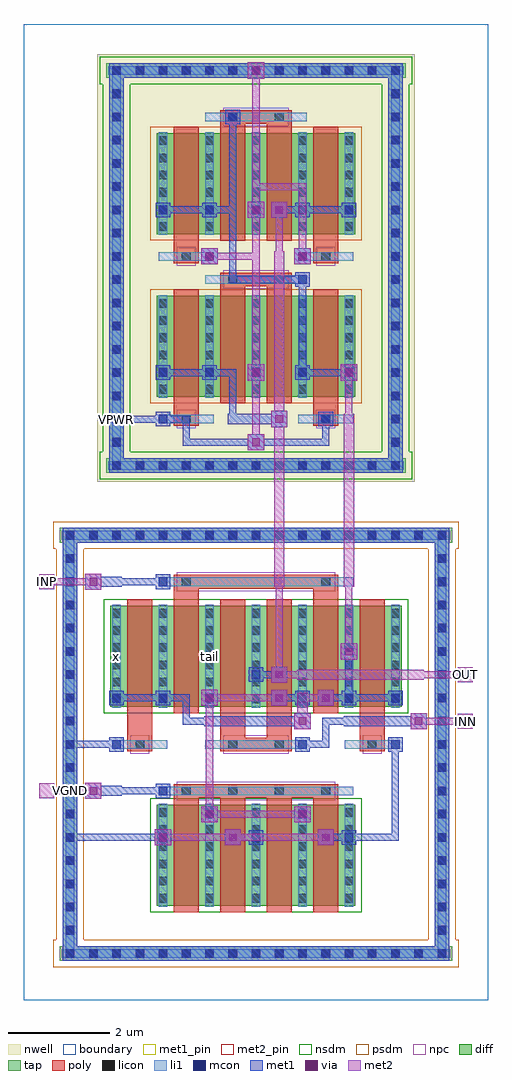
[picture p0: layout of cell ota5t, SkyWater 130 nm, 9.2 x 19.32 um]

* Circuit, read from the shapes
.subckt ota5t INN INP OUT VBN VGND VPWR tail x
XM1 x VGND x VGND sky130_fd_pr__nfet_01v8 w=2 l=0.5 m=2
XM2 tail VBN VGND VGND sky130_fd_pr__nfet_01v8 w=2 l=0.5 m=4
XM3 tail INP x VGND sky130_fd_pr__nfet_01v8 w=2 l=0.5 m=2
XM4 OUT INN tail VGND sky130_fd_pr__nfet_01v8 w=2 l=0.5 m=2
XM5 OUT VPWR OUT VPWR sky130_fd_pr__pfet_01v8 w=2 l=0.5 m=2
XM6 x VPWR x VPWR sky130_fd_pr__pfet_01v8 w=2 l=0.5 m=2
XM7 VPWR x OUT VPWR sky130_fd_pr__pfet_01v8 w=2 l=0.5 m=2
XM8 VPWR x x VPWR sky130_fd_pr__pfet_01v8 w=2 l=0.5 m=2
.ends

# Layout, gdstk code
import gdstk
lib = gdstk.Library(unit=1e-6, precision=1e-09)
def R(c, l, rs):  # rectangles x0, y0, x1, y1
    for r in rs: c.add(gdstk.rectangle(r[:2], r[2:], *l))
def A(c, l, x, y, w, h, nx, ny, dx, dy):  # array of equal rectangles
    R(c, l, [(x+i*dx, y+j*dy, x+i*dx+w, y+j*dy+h) for i in range(nx) for j in range(ny)])
nwell = (64, 20)
diff = (65, 20)
tap = (65, 44)
poly = (66, 20)
licon = (66, 44)
li1 = (67, 20)
mcon = (67, 44)
met1_pin = (68, 16)
met1 = (68, 20)
via = (68, 44)
met2_pin = (69, 16)
met2 = (69, 20)
nsdm = (93, 44)
psdm = (94, 20)
npc = (95, 20)
boundary = (235, 4)

ota5t = lib.new_cell('ota5t')
R(ota5t, nwell, [(1.455,10.255,7.745,18.725)])
R(ota5t, diff, [(2.635,1.865,6.565,3.865), (1.715,5.805,7.485,7.805), (2.635,11.94,6.565,13.94), (2.635,15.16,6.565,17.16)])
R(ota5t, tap, [(0.715,0.775,8.485,1.065), (0.775,0.775,1.065,9.345), (8.135,0.775,8.425,9.345), (0.715,9.055,8.485,9.345), (1.635,10.435,7.565,10.725), (1.695,10.435,1.985,18.545), (7.215,10.435,7.505,18.545), (1.635,18.255,7.565,18.545)])
A(ota5t, poly, 2.97, 1.735, 0.5, 2.405, 4, 1, 0.92, 0)
R(ota5t, poly, [(2.97,4.005,6.23,4.275), (2.05,4.925,2.55,5.195), (3.89,4.925,5.31,5.195), (6.65,4.925,7.15,5.195), (2.05,5.06,2.55,7.935), (3.89,5.06,4.39,7.935), (4.81,5.06,5.31,7.935), (6.65,5.06,7.15,7.935), (2.97,5.675,3.47,8.28), (5.73,5.675,6.23,8.28), (2.97,8.145,6.23,8.415), (2.97,11.365,3.47,11.635), (5.73,11.365,6.23,11.635), (2.97,11.5,3.47,14.07), (5.73,11.5,6.23,14.07), (3.89,11.81,4.39,14.26), (4.81,11.81,5.31,14.26), (3.89,14.125,5.31,14.395), (2.97,14.585,3.47,14.855), (5.73,14.585,6.23,14.855), (2.97,14.72,3.47,17.29), (5.73,14.72,6.23,17.29), (3.89,15.03,4.39,17.48), (4.81,15.03,5.31,17.48), (3.89,17.345,5.31,17.615)])
A(ota5t, licon, 0.835, 0.835, 0.17, 0.17, 17, 2, 0.46, 8.28)
A(ota5t, licon, 0.835, 1.295, 0.17, 0.17, 1, 17, 0, 0.46)
A(ota5t, licon, 8.195, 1.295, 0.17, 0.17, 1, 17, 0, 0.46)
A(ota5t, licon, 2.675, 1.93, 0.17, 0.17, 5, 6, 0.92, 0.34)
A(ota5t, licon, 3.135, 4.055, 0.17, 0.17, 4, 1, 0.92, 0)
A(ota5t, licon, 1.755, 5.87, 0.17, 0.17, 7, 6, 0.92, 0.34)
A(ota5t, licon, 3.135, 8.195, 0.17, 0.17, 1, 3, 0, 3.22)
A(ota5t, licon, 5.895, 8.195, 0.17, 0.17, 1, 3, 0, 3.22)
A(ota5t, licon, 1.755, 10.495, 0.17, 0.17, 13, 2, 0.46, 7.82)
A(ota5t, licon, 1.755, 10.955, 0.17, 0.17, 1, 16, 0, 0.46)
A(ota5t, licon, 7.275, 10.955, 0.17, 0.17, 1, 16, 0, 0.46)
A(ota5t, licon, 2.675, 12.005, 0.17, 0.17, 5, 6, 0.92, 0.34)
A(ota5t, licon, 2.675, 15.225, 0.17, 0.17, 5, 6, 0.92, 0.34)
R(ota5t, licon, [(2.215,4.975,2.385,5.145), (4.055,4.975,4.225,5.145), (4.975,4.975,5.145,5.145), (6.815,4.975,6.985,5.145), (4.055,14.175,4.225,14.345), (4.975,14.175,5.145,14.345), (4.055,17.395,4.225,17.565), (4.975,17.395,5.145,17.565)])
A(ota5t, li1, 2.675, 1.85, 0.17, 2.03, 5, 2, 0.92, 10.075)
A(ota5t, li1, 1.755, 5.79, 0.17, 2.03, 7, 1, 0.92, 0)
A(ota5t, li1, 2.675, 15.145, 0.17, 2.03, 5, 1, 0.92, 0)
R(ota5t, li1, [(0.755,0.835,8.445,1.005), (0.835,0.835,1.005,9.285), (8.195,0.835,8.365,9.285), (2.675,4.055,6.525,4.225), (1.755,4.975,2.845,5.145), (3.595,4.975,5.605,5.145), (6.355,4.975,7.445,5.145), (2.675,8.195,6.525,8.365), (0.755,9.115,8.445,9.285), (1.675,10.495,7.525,10.665), (1.755,10.495,1.925,18.485), (7.275,10.495,7.445,18.485), (2.675,11.415,3.765,11.585), (5.435,11.415,6.525,11.585), (3.595,14.175,5.605,14.345), (2.675,14.635,3.765,14.805), (5.435,14.635,6.525,14.805), (3.595,17.395,5.605,17.565), (1.675,18.315,7.525,18.485)])
A(ota5t, mcon, 0.835, 0.835, 0.17, 0.17, 17, 2, 0.46, 8.28)
A(ota5t, mcon, 0.835, 1.295, 0.17, 0.17, 1, 4, 0, 0.46)
A(ota5t, mcon, 8.195, 1.295, 0.17, 0.17, 1, 4, 0, 0.46)
A(ota5t, mcon, 0.835, 3.135, 0.17, 0.17, 5, 1, 1.84, 0)
A(ota5t, mcon, 0.835, 3.595, 0.17, 0.17, 1, 5, 0, 0.46)
A(ota5t, mcon, 8.195, 3.595, 0.17, 0.17, 1, 5, 0, 0.46)
A(ota5t, mcon, 0.835, 5.895, 0.17, 0.17, 4, 1, 0.92, 0)
A(ota5t, mcon, 5.435, 5.895, 0.17, 0.17, 4, 1, 0.92, 0)
A(ota5t, mcon, 0.835, 6.355, 0.17, 0.17, 3, 1, 3.68, 0)
A(ota5t, mcon, 0.835, 6.815, 0.17, 0.17, 1, 5, 0, 0.46)
A(ota5t, mcon, 8.195, 6.815, 0.17, 0.17, 1, 5, 0, 0.46)
A(ota5t, mcon, 1.755, 10.495, 0.17, 0.17, 13, 2, 0.46, 7.82)
A(ota5t, mcon, 1.755, 10.955, 0.17, 0.17, 1, 3, 0, 0.46)
A(ota5t, mcon, 7.275, 10.955, 0.17, 0.17, 1, 3, 0, 0.46)
A(ota5t, mcon, 1.755, 12.335, 0.17, 0.17, 7, 2, 0.92, 3.22)
A(ota5t, mcon, 1.755, 12.795, 0.17, 0.17, 1, 4, 0, 0.46)
A(ota5t, mcon, 7.275, 12.795, 0.17, 0.17, 1, 4, 0, 0.46)
A(ota5t, mcon, 1.755, 14.635, 0.17, 0.17, 4, 1, 1.84, 0)
A(ota5t, mcon, 1.755, 16.015, 0.17, 0.17, 1, 5, 0, 0.46)
A(ota5t, mcon, 7.275, 16.015, 0.17, 0.17, 1, 5, 0, 0.46)
R(ota5t, mcon, [(3.595,3.595,3.765,3.765), (5.435,3.595,5.605,3.765), (2.675,4.055,2.845,4.225), (1.755,4.975,1.925,5.145), (5.435,4.975,5.605,5.145), (7.275,4.975,7.445,5.145), (2.675,8.195,2.845,8.365), (2.675,11.415,2.845,11.585), (5.895,11.415,6.065,11.585), (5.435,14.175,5.605,14.345), (1.755,15.095,1.925,15.265), (7.275,15.095,7.445,15.265), (4.055,17.395,4.225,17.565)])
R(ota5t, met1_pin, [(0.85,3.15,0.99,5.13), (1.77,11.43,1.91,11.57)])
A(ota5t, met1, 2.615, 3.075, 0.29, 0.29, 3, 1, 1.84, 0)
A(ota5t, met1, 1.695, 5.835, 0.29, 0.29, 3, 1, 0.92, 0)
A(ota5t, met1, 5.375, 5.835, 0.29, 0.29, 3, 1, 0.92, 0)
A(ota5t, met1, 2.615, 12.275, 0.29, 0.29, 5, 2, 0.92, 3.22)
R(ota5t, met1, [(0.775,0.775,8.425,1.065), (0.775,0.775,1.065,9.345), (8.135,0.775,8.425,9.345), (2.6,3.06,2.92,3.38), (3.98,3.06,4.3,3.38), (5.82,3.06,6.14,3.38), (0.85,3.15,0.99,5.13), (0.85,3.15,2.83,3.29), (4.07,3.15,4.67,3.29), (5.91,3.15,6.51,3.29), (6.37,3.15,7.43,3.29), (7.29,3.15,7.43,5.13), (3.52,3.52,3.84,3.84), (5.36,3.52,5.68,3.84), (3.535,3.535,3.825,3.825), (5.375,3.535,5.665,3.825), (1.22,3.98,1.54,4.3), (2.615,3.995,2.905,4.285), (1.28,4.04,1.94,4.24), (1.77,4.07,2.83,4.21), (1.695,4.915,1.985,5.205), (5.375,4.915,5.665,5.205), (7.215,4.915,7.505,5.205), (0.85,4.99,0.99,5.13), (0.85,4.99,1.91,5.13), (0.85,4.99,0.99,9.27), (5.45,4.99,6.05,5.13), (5.91,4.99,6.05,5.59), (5.36,5.36,5.68,5.68), (7.66,5.36,7.98,5.68), (3.58,5.42,5.62,5.62), (6.34,5.42,7.92,5.62), (3.15,5.45,3.75,5.59), (3.15,5.45,3.29,6.05), (5.91,5.45,6.51,5.59), (3.52,5.82,3.84,6.14), (4.9,5.82,5.22,6.14), (5.82,5.82,6.14,6.14), (1.77,5.91,2.83,6.05), (2.69,5.91,3.29,6.05), (4.99,5.91,5.59,6.05), (5.91,5.91,6.51,6.05), (6.37,5.91,7.43,6.05), (6.37,5.91,6.51,6.97), (4.9,6.28,5.22,6.6), (4.455,6.295,4.745,6.585), (4.53,6.37,5.13,6.51), (6.28,6.74,6.6,7.06), (1.22,8.12,1.54,8.44), (2.615,8.135,2.905,8.425), (1.28,8.18,1.94,8.38), (1.77,8.21,2.83,8.35), (0.775,9.055,8.425,9.345), (0.85,9.13,0.99,9.27), (1.695,10.435,7.505,10.725), (1.695,10.435,1.985,18.545), (7.215,10.435,7.505,18.545), (4.44,10.88,4.76,11.2), (3.15,10.97,6.05,11.11), (3.15,10.97,3.29,11.57), (5.91,10.97,6.05,11.57), (4.9,11.34,5.22,11.66), (2.615,11.355,2.905,11.645), (5.835,11.355,6.125,11.645), (4.04,11.4,5.16,11.6), (1.77,11.43,1.91,11.57), (1.77,11.43,2.83,11.57), (2.69,11.43,3.29,11.57), (4.07,11.43,4.21,12.49), (4.44,12.26,4.76,12.58), (6.28,12.26,6.6,12.58), (2.69,12.35,3.75,12.49), (3.61,12.35,4.21,12.49), (5.45,12.35,5.59,14.33), (5.45,12.35,6.51,12.49), (5.375,14.115,5.665,14.405), (4.07,14.19,5.59,14.33), (4.07,14.19,4.21,15.71), (3.52,14.56,3.84,14.88), (5.36,14.56,5.68,14.88), (3.535,14.575,3.825,14.865), (5.375,14.575,5.665,14.865), (4.44,15.48,4.76,15.8), (4.9,15.48,5.22,15.8), (2.69,15.57,3.75,15.71), (3.61,15.57,4.21,15.71), (4.07,15.57,4.21,17.55), (4.99,15.57,5.59,15.71), (5.45,15.57,6.51,15.71), (3.995,17.335,4.285,17.625), (4.44,18.24,4.76,18.56), (1.695,18.255,7.505,18.545), (4.53,18.33,4.67,18.47)])
R(ota5t, via, [(2.685,3.145,2.835,3.295), (4.065,3.145,4.215,3.295), (5.905,3.145,6.055,3.295), (3.605,3.605,3.755,3.755), (5.445,3.605,5.595,3.755), (1.305,4.065,1.455,4.215), (5.445,5.445,5.595,5.595), (7.745,5.445,7.895,5.595), (3.605,5.905,3.755,6.055), (4.985,5.905,5.135,6.055), (5.905,5.905,6.055,6.055), (4.985,6.365,5.135,6.515), (6.365,6.825,6.515,6.975), (1.305,8.205,1.455,8.355), (4.525,10.965,4.675,11.115), (4.985,11.425,5.135,11.575), (4.525,12.345,4.675,12.495), (6.365,12.345,6.515,12.495), (3.605,14.645,3.755,14.795), (5.445,14.645,5.595,14.795), (4.525,15.565,4.675,15.715), (4.985,15.565,5.135,15.715), (4.525,18.325,4.675,18.475)])
R(ota5t, met2_pin, [(0.31,3.99,0.61,4.29), (8.59,5.37,8.89,5.67), (8.59,6.29,8.89,6.59), (0.31,8.13,0.61,8.43)])
R(ota5t, met2, [(2.6,3.06,2.92,3.38), (3.98,3.06,4.3,3.38), (5.82,3.06,6.14,3.38), (2.69,3.15,4.21,3.29), (4.07,3.15,6.05,3.29), (3.52,3.52,3.84,3.84), (5.36,3.52,5.68,3.84), (3.61,3.61,3.75,6.05), (3.61,3.61,5.59,3.75), (1.22,3.98,1.54,4.3), (0.31,3.99,0.61,4.29), (0.39,4.07,0.53,4.21), (0.39,4.07,1.45,4.21), (5.36,5.36,5.68,5.68), (7.66,5.36,7.98,5.68), (8.59,5.37,8.89,5.67), (5.42,5.42,5.62,6.08), (7.75,5.45,8.81,5.59), (8.67,5.45,8.81,5.59), (3.52,5.82,3.84,6.14), (4.9,5.82,5.22,6.14), (5.82,5.82,6.14,6.14), (3.61,5.91,5.13,6.05), (5.45,5.91,6.05,6.05), (4.9,6.28,5.22,6.6), (8.59,6.29,8.89,6.59), (5.42,6.34,7.92,6.54), (4.99,6.37,5.59,6.51), (4.99,6.37,5.13,8.35), (7.75,6.37,8.81,6.51), (8.67,6.37,8.81,6.51), (6.28,6.74,6.6,7.06), (6.37,6.83,6.51,8.35), (1.22,8.12,1.54,8.44), (0.31,8.13,0.61,8.43), (4.96,8.18,5.16,11.6), (6.34,8.18,6.54,11.6), (0.39,8.21,0.53,8.35), (0.39,8.21,1.45,8.35), (4.44,10.88,4.76,11.2), (4.53,10.97,4.67,12.49), (4.9,11.34,5.22,11.66), (4.96,11.4,5.16,14.82), (6.37,11.43,6.51,12.49), (4.44,12.26,4.76,12.58), (6.28,12.26,6.6,12.58), (4.53,12.35,4.67,15.71), (3.52,14.56,3.84,14.88), (5.36,14.56,5.68,14.88), (3.61,14.65,4.67,14.79), (4.99,14.65,5.13,15.71), (5.45,14.65,5.59,16.17), (4.44,15.48,4.76,15.8), (4.9,15.48,5.22,15.8), (4.53,15.57,4.67,18.47), (4.53,16.03,5.59,16.17), (4.44,18.24,4.76,18.56)])
R(ota5t, nsdm, [(2.51,1.74,6.69,3.99), (1.59,5.68,7.61,7.93), (1.51,10.31,7.69,10.85), (1.57,10.85,2.11,18.13), (7.09,10.85,7.63,18.13), (1.51,18.13,7.69,18.67)])
R(ota5t, psdm, [(0.59,0.65,8.61,1.19), (0.65,1.19,1.19,8.93), (8.01,1.19,8.55,8.93), (0.59,8.93,8.61,9.47), (2.51,11.815,6.69,14.065), (2.51,15.035,6.69,17.285)])
R(ota5t, npc, [(3.035,3.955,6.165,4.325), (2.115,4.875,2.485,5.245), (3.955,4.875,5.245,5.245), (6.715,4.875,7.085,5.245), (3.035,8.095,6.165,8.465), (3.035,11.315,3.405,11.685), (5.795,11.315,6.165,11.685), (3.955,14.075,5.245,14.445), (3.035,14.535,3.405,14.905), (5.795,14.535,6.165,14.905), (3.955,17.295,5.245,17.665)])
R(ota5t, boundary, [(0,0,9.2,19.32)])
ota5t.add(gdstk.Label('x', (1.84,6.805), layer=67, texttype=5))
ota5t.add(gdstk.Label('tail', (3.68,6.805), layer=67, texttype=5))
ota5t.add(gdstk.Label('VPWR', (1.84,11.5), layer=68, texttype=5))
ota5t.add(gdstk.Label('VGND', (0.92,4.14), layer=68, texttype=5))
ota5t.add(gdstk.Label('INP', (0.46,8.28), layer=69, texttype=5))
ota5t.add(gdstk.Label('INN', (8.74,5.52), layer=69, texttype=5))
ota5t.add(gdstk.Label('VBN', (0.46,4.14), layer=69, texttype=5))
ota5t.add(gdstk.Label('OUT', (8.74,6.44), layer=69, texttype=5))
ota5t.add(gdstk.Label('VPWR', (1.84,11.5), layer=68, texttype=16))
ota5t.add(gdstk.Label('VGND', (0.92,4.14), layer=68, texttype=16))
ota5t.add(gdstk.Label('INP', (0.46,8.28), layer=69, texttype=16))
ota5t.add(gdstk.Label('INN', (8.74,5.52), layer=69, texttype=16))
ota5t.add(gdstk.Label('VBN', (0.46,4.14), layer=69, texttype=16))
ota5t.add(gdstk.Label('OUT', (8.74,6.44), layer=69, texttype=16))

lib.write_gds('ota5t.gds')
